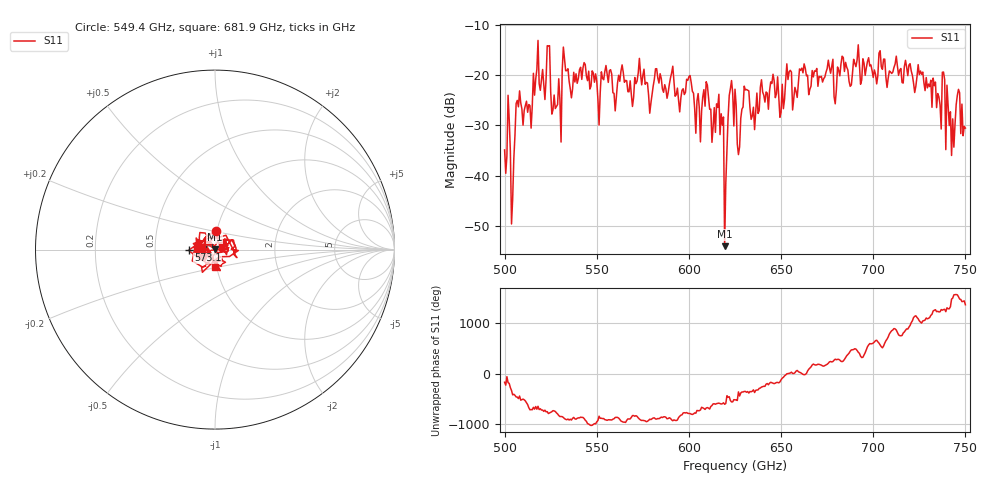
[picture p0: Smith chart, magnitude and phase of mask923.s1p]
!Created with skrf (http://scikit-rf.org).
# GHz S MA R 50.0
!freq magS11 angS11
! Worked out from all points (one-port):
!   401 points, 500 GHz to 750 GHz, reference 50 ohm
!   lowest |S11| = -54.1 dB at 619.4 GHz (marker M1), VSWR 1.00, Z = 49.9 + j0.18 ohm
!   |S11| at or under -10 dB: start of sweep to end of sweep
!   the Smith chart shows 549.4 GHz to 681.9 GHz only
!   S11 on the Smith chart (normalised r, x): 549.4 GHz: 0.99, +0.21; 573.1 GHz: 0.74, -0.01; 681.9 GHz: 0.98, -0.19
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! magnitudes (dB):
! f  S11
! 500 GHz  -34.9
! 501.9 GHz  -24.0
! 504.4 GHz  -44.6
! 507.5 GHz  -26.3
! 513.8 GHz  -26.0
! 516.9 GHz  -20.8
! 523.8 GHz  -14.2
! 526.9 GHz  -23.9
! 531.2 GHz  -19.0
! 549.4 GHz  -19.7
! 562.5 GHz  -21.2
! 573.1 GHz  -16.6
! 593.8 GHz  -22.6
! 605 GHz  -23.6
! 609.4 GHz  -21.3
! 617.5 GHz  -27.7
! 619.4 GHz  -54.1
! 620.6 GHz  -35.1
! 622.5 GHz  -22.7
! 625 GHz  -22.8
! 627.5 GHz  -34.2
! 631.2 GHz  -22.8
! 635 GHz  -26.4
! 656.2 GHz  -26.9
! 681.9 GHz  -20.1
! 687.5 GHz  -22.2
! 718.8 GHz  -20.1
! 750 GHz  -30.5
